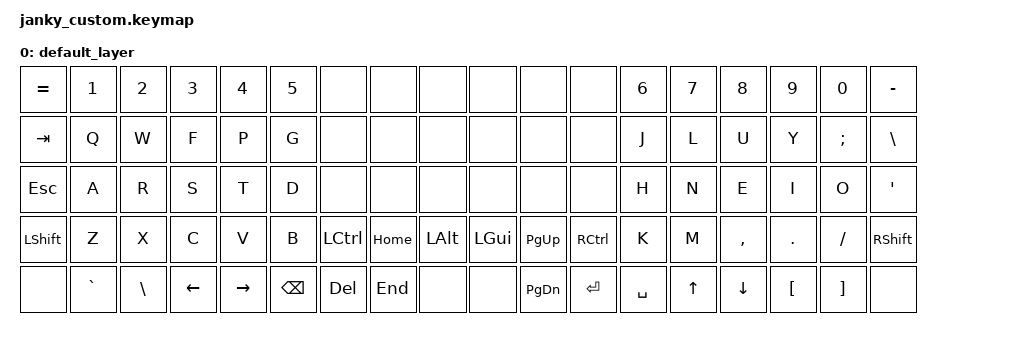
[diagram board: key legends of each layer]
#include <behaviors.dtsi>
#include <dt-bindings/zmk/keys.h>
#include <dt-bindings/zmk/bt.h>
/ {
  keymap {
    compatible = "zmk,keymap";
      default_layer {
        bindings = <
          //0                                                                                       //9       
          &kp EQUAL    &kp N1    &kp N2   &kp N3   &kp N4    &kp N5   &none     &none   &none        &none     &none     &none     &kp N6    &kp N7  &kp N8    &kp N9   &kp N0   &kp MINUS
          //18                                                                                      //27
          &kp TAB     &kp Q     &kp W    &kp F    &kp P     &kp G    &none     &none   &none        &none     &none     &none     &kp J     &kp L   &kp U     &kp Y    &kp SEMI &kp BSLH
          //36                                                                                      //45
          &kp ESC     &kp A     &kp R    &kp S    &kp T     &kp D    &none     &none   &none        &none     &none     &none     &kp H     &kp N   &kp E     &kp I    &kp O    &kp SQT
          //54                                                                 //61                 //63
          &kp LSHFT   &kp Z     &kp X    &kp C    &kp V     &kp B    &kp LCTRL &kp HOME &kp LALT    &kp LGUI &kp PG_UP  &kp RCTRL &kp K     &kp M   &kp COMMA &kp DOT  &kp FSLH &kp RSHFT
          //72                                                                 //79                 //81
          &none       &kp GRAVE &kp BSLH &kp LEFT &kp RIGHT &kp BSPC &kp DEL   &kp END  &none       &none     &kp PG_DN &kp ENTER &kp SPACE &kp UP  &kp DOWN  &kp LBKT &kp RBKT &none
				>;
      };
  };
 // bluetooth stuff:
 // next: home+right arrow
 // prev: home+left arrow
 // clear: home+0
 // profile 0: home+1
 // profile 1: home+2
 // profile 2: home+3
 // profile 3: home+4
    combos {
        compatible = "zmk,combos";
        combo_clr {
            timeout-ms = <50>;
            key-positions = <61 16>;
            bindings = <&bt BT_CLR>;
        };
        combo_nxt {
            timeout-ms = <50>;
            key-positions = <61 68>;
            bindings = <&bt BT_NXT>;
        };
        combo_prv {
            timeout-ms = <50>;
            key-positions = <61 67>;
            bindings = <&bt BT_PRV>;
        };
        combo_d0 {
            timeout-ms = <50>;
            key-positions = <61 1>;
            bindings = <&bt BT_SEL 0>;
        };
        combo_d1 {
            timeout-ms = <50>;
            key-positions = <61 2>;
            bindings = <&bt BT_SEL 1>;
        };
        combo_d2 {
            timeout-ms = <50>;
            key-positions = <61 3>;
            bindings = <&bt BT_SEL 2>;
        };
        combo_d3 {
            timeout-ms = <50>;
            key-positions = <61 4>;
            bindings = <&bt BT_SEL 3>;
        };

// f keys: end + top row keys, 1 through 12
	combo_f1 {
            timeout-ms = <50>;
            key-positions = <79 0>;
            bindings = <&kp F1>;
	};
	combo_f2 {
            timeout-ms = <50>;
            key-positions = <79 1>;
            bindings = <&kp F2>;
	};
	combo_f3 {
            timeout-ms = <50>;
            key-positions = <79 2>;
            bindings = <&kp F3>;
	};
	combo_f4 {
            timeout-ms = <50>;
            key-positions = <79 3>;
            bindings = <&kp F4>;
	};
	combo_f5 {
            timeout-ms = <50>;
            key-positions = <79 4>;
            bindings = <&kp F5>;
	};
	combo_f6 {
            timeout-ms = <50>;
            key-positions = <79 5>;
            bindings = <&kp F6>;
	};
	combo_f7 {
            timeout-ms = <50>;
            key-positions = <79 6>;
            bindings = <&kp F7>;
	};
	combo_f8 {
            timeout-ms = <50>;
            key-positions = <79 7>;
            bindings = <&kp F8>;
	};
	combo_f9 {
            timeout-ms = <50>;
            key-positions = <79 8>;
            bindings = <&kp F9>;
	};
	combo_f10 {
            timeout-ms = <50>;
            key-positions = <79 9>;
            bindings = <&kp F10>;
	};
	combo_f11 {
            timeout-ms = <50>;
            key-positions = <79 10>;
            bindings = <&kp F11>;
	};
	combo_f12 {
            timeout-ms = <50>;
            key-positions = <79 11>;
            bindings = <&kp F12>;
	};
    };
};
